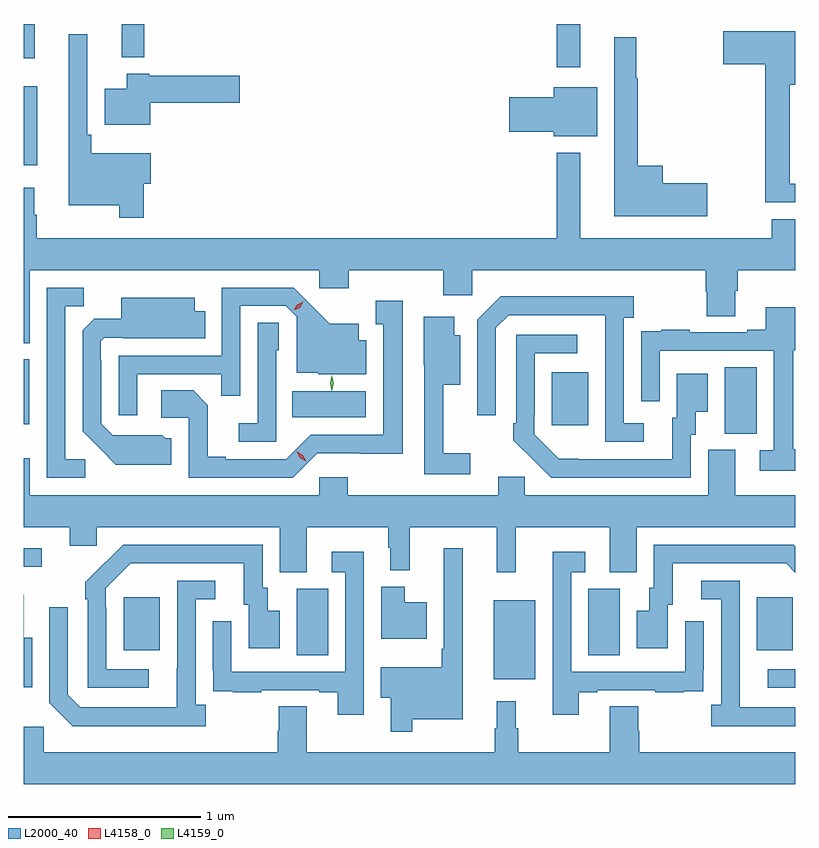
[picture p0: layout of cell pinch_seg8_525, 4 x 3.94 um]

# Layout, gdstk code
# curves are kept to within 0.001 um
import gdstk
lib = gdstk.Library(unit=1e-6, precision=1e-09)
def R(c, l, rs):  # rectangles x0, y0, x1, y1
    for r in rs: c.add(gdstk.rectangle(r[:2], r[2:], *l))
def P(c, l, *ps):  # polygons
    for p in ps: c.add(gdstk.Polygon(p, *l))
L2000_40 = (2000, 40)
L4158_0 = (4158, 0)
L4159_0 = (4159, 0)

pinch_seg8_525 = lib.new_cell('pinch_seg8_525')
R(pinch_seg8_525, L2000_40, [(124.515,1119.663,124.657,1119.759), (123.095,1119.707,123.31,1120.117), (122.072,1119.832,122.236,1120.176), (123.584,1119.832,123.748,1120.176), (121.175,1119.857,121.363,1120.132), (124.457,1119.857,124.645,1120.132), (120.657,1120.289,120.751,1120.386), (124.292,1120.981,124.456,1121.324), (123.395,1121.025,123.583,1121.299), (120.657,1121.03,120.685,1121.365), (122.05,1121.066,122.431,1121.2), (120.657,1122.371,120.727,1122.781), (123.42,1122.879,123.541,1123.104), (120.657,1122.927,120.713,1123.104), (121.166,1122.932,121.283,1123.104)])
P(pinch_seg8_525, L2000_40, [(124.657,1122.276),(124.627,1122.276),(124.627,1122.788),(124.657,1122.788),(124.657,1123.066),(124.284,1123.066),(124.284,1122.896),(124.502,1122.896),(124.502,1122.179),(124.657,1122.179)],
  [(121.28,1122.275),(121.315,1122.275),(121.315,1122.433),(121.007,1122.433),(121.007,1122.529),(120.987,1122.529),(120.987,1123.051),(120.89,1123.051),(120.89,1122.164),(121.152,1122.164),(121.152,1122.099),(121.28,1122.099)],
  [(124.201,1122.278),(123.97,1122.278),(123.97,1122.37),(123.841,1122.37),(123.841,1122.823),(123.833,1122.823),(123.833,1123.036),(123.719,1123.036),(123.719,1122.107),(124.201,1122.107)],
  [(121.312,1122.695),(121.777,1122.695),(121.777,1122.837),(121.308,1122.837),(121.308,1122.847),(121.19,1122.847),(121.19,1122.769),(121.076,1122.769),(121.076,1122.581),(121.312,1122.581)],
  [(123.631,1122.775),(123.404,1122.775),(123.404,1122.723),(123.174,1122.723),(123.174,1122.545),(123.404,1122.545),(123.404,1122.521),(123.631,1122.521)],
  [(120.688,1121.828),(122.19,1121.828),(122.19,1121.733),(122.342,1121.733),(122.342,1121.828),(122.831,1121.828),(122.831,1121.697),(122.982,1121.697),(122.982,1121.828),(124.193,1121.828),(124.193,1121.715),(124.198,1121.715),(124.198,1121.59),(124.345,1121.59),(124.345,1121.722),(124.358,1121.722),(124.358,1121.828),(124.657,1121.828),(124.657,1122.091),(124.534,1122.091),(124.534,1121.992),(123.541,1121.992),(123.541,1122.436),(123.42,1122.436),(123.42,1121.992),(120.724,1121.992),(120.724,1122.116),(120.712,1122.116),(120.712,1122.256),(120.657,1122.256),(120.657,1121.45),(120.688,1121.45)],
  [(120.976,1120.848),(120.873,1120.848),(120.873,1121.641),(120.969,1121.641),(120.969,1121.736),(120.777,1121.736),(120.777,1120.752),(120.976,1120.752)],
  [(121.245,1121.289),(121.681,1121.289),(121.681,1121.176),(121.779,1121.176),(121.779,1121.643),(122.016,1121.643),(122.073,1121.586),(122.073,1121.297),(122.184,1121.297),(122.184,1121.288),(122.434,1121.288),(122.434,1121.464),(122.395,1121.464),(122.395,1121.551),(122.243,1121.551),(122.056,1121.736),(121.683,1121.736),(121.683,1121.385),(121.149,1121.385),(121.149,1121.076),(121.245,1121.076)],
  [(123.871,1121.034),(123.768,1121.034),(123.768,1121.582),(123.82,1121.582),(123.82,1121.692),(123.13,1121.692),(123.009,1121.571),(123.009,1121.076),(123.105,1121.076),(123.105,1121.529),(123.171,1121.595),(123.671,1121.595),(123.672,1120.938),(123.871,1120.938)],
  [(121.423,1120.956),(121.392,1120.956),(121.376,1120.972),(121.119,1120.971),(121.059,1121.031),(121.059,1121.36),(121.056,1121.36),(121.056,1121.46),(121.074,1121.478),(121.174,1121.478),(121.174,1121.474),(121.598,1121.474),(121.598,1121.614),(121.543,1121.614),(121.543,1121.686),(121.163,1121.686),(121.163,1121.575),(121.022,1121.575),(120.963,1121.516),(120.963,1120.994),(121.135,1120.82),(121.423,1120.82)],
  [(122.178,1120.878),(122.623,1120.877),(122.623,1121.668),(122.483,1121.668),(122.483,1121.547),(122.522,1121.547),(122.522,1120.974),(122.145,1120.974),(122.019,1120.848),(121.705,1120.848),(121.705,1120.861),(121.611,1120.861),(121.611,1121.128),(121.535,1121.204),(121.371,1121.204),(121.371,1121.064),(121.512,1121.064),(121.512,1120.752),(122.052,1120.752)],
  [(124.657,1120.9),(124.646,1120.9),(124.646,1121.412),(124.657,1121.412),(124.657,1121.635),(124.505,1121.635),(124.505,1121.518),(124.409,1121.518),(124.409,1121.505),(124.109,1121.505),(124.109,1121.518),(123.961,1121.518),(123.961,1121.511),(123.859,1121.511),(123.859,1121.402),(123.858,1121.402),(123.858,1121.148),(123.954,1121.148),(123.954,1121.409),(124.545,1121.409),(124.545,1120.893),(124.473,1120.893),(124.473,1120.788),(124.657,1120.788)],
  [(122.971,1120.879),(122.831,1120.879),(122.831,1121.234),(122.92,1121.234),(122.92,1121.491),(122.89,1121.491),(122.89,1121.587),(122.732,1121.587),(122.732,1121.338),(122.733,1121.338),(122.733,1120.77),(122.971,1120.77)],
  [(121.965,1121.412),(121.98,1121.412),(121.98,1121.555),(121.869,1121.555),(121.869,1121.035),(121.773,1121.035),(121.773,1120.938),(121.965,1120.938)],
  [(124.116,1120.974),(124.141,1120.974),(124.141,1121.093),(124.204,1121.093),(124.204,1121.29),(124.043,1121.29),(124.043,1121.064),(124.019,1121.064),(124.019,1120.848),(123.432,1120.849),(123.303,1120.977),(123.303,1121.077),(123.306,1121.077),(123.306,1121.397),(123.526,1121.397),(123.526,1121.493),(123.21,1121.493),(123.21,1121.035),(123.195,1121.035),(123.195,1120.947),(123.392,1120.752),(124.116,1120.752)],
  [(122.125,1120.496),(122.547,1120.496),(122.547,1120.389),(122.558,1120.389),(122.558,1120.271),(122.657,1120.271),(122.657,1120.496),(123.11,1120.496),(123.11,1120.263),(123.209,1120.263),(123.209,1120.496),(123.695,1120.496),(123.695,1120.261),(123.835,1120.261),(123.835,1120.496),(124.657,1120.496),(124.657,1120.66),(124.345,1120.66),(124.345,1120.896),(124.205,1120.896),(124.205,1120.66),(123.255,1120.66),(123.255,1120.758),(123.116,1120.758),(123.116,1120.66),(122.337,1120.66),(122.337,1120.753),(122.19,1120.753),(122.19,1120.66),(120.688,1120.66),(120.688,1120.852),(120.657,1120.852),(120.657,1120.496),(120.896,1120.496),(120.896,1120.398),(121.035,1120.398),(121.035,1120.496),(121.985,1120.496),(121.985,1120.261),(122.125,1120.261)],
  [(123.997,1120.092),(124.021,1120.092),(124.021,1120.308),(124.609,1120.308),(124.657,1120.26),(124.657,1120.395),(124.648,1120.404),(123.924,1120.404),(123.924,1120.182),(123.899,1120.182),(123.899,1120.063),(123.836,1120.063),(123.836,1119.867),(123.997,1119.867)],
  [(121.306,1119.759),(121.086,1119.759),(121.086,1120.079),(121.083,1120.079),(121.083,1120.179),(121.212,1120.308),(121.799,1120.308),(121.799,1120.092),(121.823,1120.092),(121.823,1119.867),(121.984,1119.867),(121.984,1120.063),(121.921,1120.063),(121.921,1120.182),(121.896,1120.182),(121.896,1120.404),(121.172,1120.404),(120.975,1120.209),(120.975,1120.121),(120.99,1120.121),(120.99,1119.663),(121.306,1119.663)],
  [(122.671,1119.5),(122.932,1119.5),(122.932,1120.387),(122.835,1120.387),(122.835,1119.865),(122.823,1119.865),(122.823,1119.769),(122.508,1119.769),(122.508,1119.611),(122.561,1119.611),(122.561,1119.435),(122.671,1119.435)],
  [(123.535,1119.639),(123.631,1119.639),(123.631,1119.651),(123.931,1119.651),(123.931,1119.639),(124.079,1119.639),(124.079,1119.645),(124.181,1119.645),(124.181,1119.754),(124.182,1119.754),(124.182,1120.009),(124.086,1120.009),(124.086,1119.747),(123.495,1119.747),(123.495,1120.263),(123.568,1120.263),(123.568,1120.369),(123.399,1120.369),(123.399,1119.522),(123.535,1119.522)],
  [(122.421,1120.369),(122.253,1120.369),(122.253,1120.263),(122.325,1120.263),(122.325,1119.747),(121.734,1119.747),(121.734,1120.009),(121.638,1120.009),(121.638,1119.754),(121.639,1119.754),(121.639,1119.645),(121.741,1119.645),(121.741,1119.639),(121.889,1119.639),(121.889,1119.651),(122.189,1119.651),(122.189,1119.639),(122.285,1119.639),(122.285,1119.522),(122.421,1119.522)],
  [(124.657,1119.561),(124.369,1119.561),(124.369,1119.761),(124.368,1119.761),(124.368,1120.218),(124.17,1120.218),(124.17,1120.122),(124.272,1120.122),(124.272,1119.574),(124.221,1119.574),(124.221,1119.464),(124.657,1119.464)],
  [(121.6,1119.574),(121.548,1119.574),(121.548,1120.122),(121.651,1120.122),(121.651,1120.218),(121.452,1120.218),(121.451,1119.561),(120.951,1119.561),(120.885,1119.627),(120.885,1120.081),(120.789,1120.081),(120.789,1119.585),(120.91,1119.464),(121.6,1119.464)],
  [(122.746,1120.105),(122.632,1120.105),(122.632,1120.186),(122.51,1120.186),(122.51,1119.917),(122.746,1119.917)],
  [(120.7,1119.922),(120.658,1119.922),(120.658,1120.144),(120.657,1120.144),(120.657,1119.665),(120.7,1119.665)],
  [(124.657,1119.328),(123.848,1119.328),(123.848,1119.441),(123.843,1119.441),(123.843,1119.566),(123.695,1119.566),(123.695,1119.328),(123.22,1119.328),(123.22,1119.452),(123.209,1119.452),(123.209,1119.592),(123.11,1119.592),(123.11,1119.452),(123.099,1119.452),(123.099,1119.328),(122.125,1119.328),(122.125,1119.566),(121.978,1119.566),(121.978,1119.441),(121.973,1119.441),(121.973,1119.328),(120.762,1119.328),(120.762,1119.46),(120.657,1119.46),(120.657,1119.164),(124.657,1119.164)])
P(pinch_seg8_525, L4158_0, [(122.121,1120.836),(122.089,1120.855),(122.072,1120.887),(122.072,1120.888),(122.072,1120.888),(122.104,1120.868),(122.121,1120.836),(122.121,1120.836)],
  [(122.057,1121.619),(122.057,1121.619),(122.074,1121.648),(122.105,1121.664),(122.105,1121.664),(122.105,1121.663),(122.088,1121.634),(122.057,1121.619)])
P(pinch_seg8_525, L4159_0, [(122.254,1121.203),(122.245,1121.242),(122.254,1121.281),(122.255,1121.282),(122.255,1121.281),(122.265,1121.242),(122.255,1121.203),(122.255,1121.203)])

lib.write_gds('pinch_seg8_525.gds')
